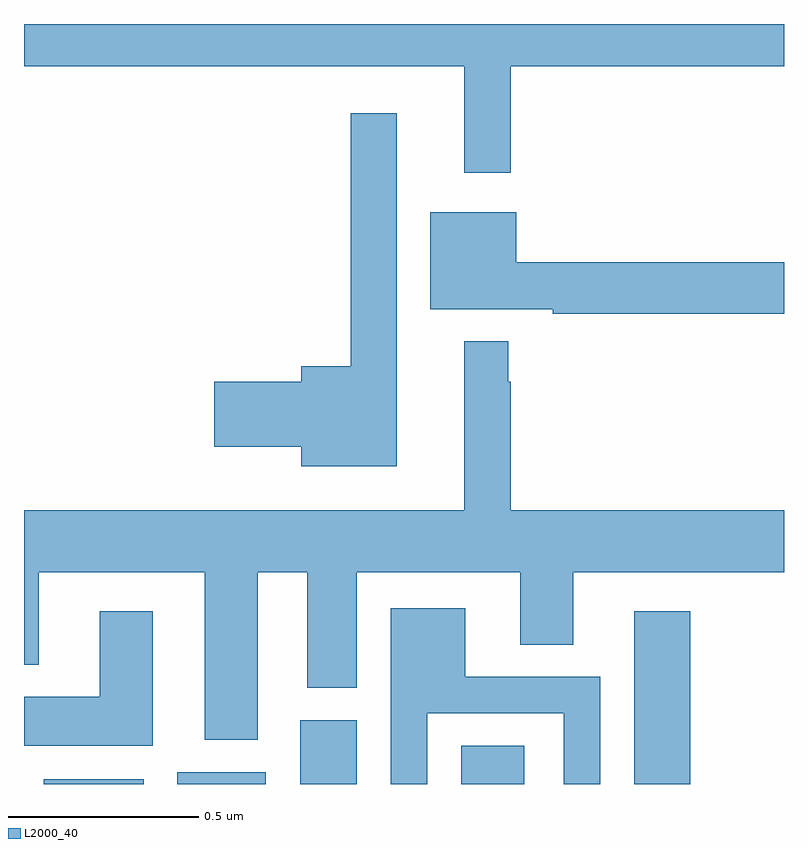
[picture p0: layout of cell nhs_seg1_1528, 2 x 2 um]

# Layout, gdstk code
import gdstk
lib = gdstk.Library(unit=1e-6, precision=1e-09)
def R(c, l, rs):  # rectangles x0, y0, x1, y1
    for r in rs: c.add(gdstk.rectangle(r[:2], r[2:], *l))
def P(c, l, *ps):  # polygons
    for p in ps: c.add(gdstk.Polygon(p, *l))
L2000_40 = (2000, 40)

nhs_seg1_1528 = lib.new_cell('nhs_seg1_1528')
R(nhs_seg1_1528, L2000_40, [(130.052,527.199,130.315,527.212), (130.403,527.199,130.636,527.23), (130.727,527.199,130.876,527.367), (131.15,527.199,131.317,527.3), (131.606,527.199,131.753,527.653)])
P(nhs_seg1_1528, L2000_40, [(131.281,529.088),(132,529.088),(132,529.199),(130,529.199),(130,529.088),(131.159,529.088),(131.159,528.807),(131.281,528.807)],
  [(130.981,528.964),(130.86,528.964),(130.86,528.298),(130.73,528.298),(130.73,528.257),(130.5,528.257),(130.5,528.086),(130.73,528.086),(130.73,528.035),(130.981,528.035)],
  [(132,528.572),(131.296,528.572),(131.296,528.703),(131.069,528.703),(131.069,528.449),(131.392,528.449),(131.392,528.436),(132,528.436)],
  [(130.615,527.756),(130.745,527.756),(130.745,527.452),(130.876,527.452),(130.876,527.756),(131.306,527.756),(131.306,527.566),(131.446,527.566),(131.446,527.756),(132,527.756),(132,527.92),(131.281,527.92),(131.281,528.257),(131.274,528.257),(131.274,528.364),(131.159,528.364),(131.159,527.92),(130,527.92),(130,527.513),(130.039,527.513),(130.039,527.756),(130.475,527.756),(130.475,527.315),(130.615,527.315)],
  [(131.061,527.385),(131.421,527.385),(131.421,527.199),(131.517,527.199),(131.517,527.481),(131.161,527.481),(131.161,527.662),(130.965,527.662),(130.965,527.199),(131.061,527.199)],
  [(130.339,527.653),(130.199,527.653),(130.199,527.428),(130,527.428),(130,527.3),(130.339,527.3)])

lib.write_gds('nhs_seg1_1528.gds')
